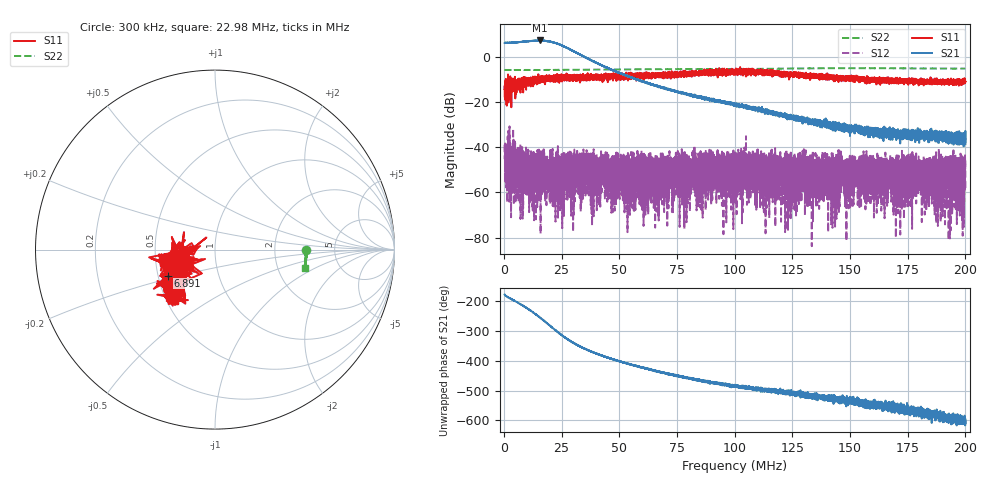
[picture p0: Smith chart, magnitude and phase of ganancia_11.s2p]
# Hz S DB R 50
! CMT, M5065, 19127446, 24.2.4/2
! Date: 11/8/2024 4:54:46 PM
! Data: Format (Calibration Info)
! Freq	S11:dB/Ang(F2)	S21:dB/Ang(F2)	S12:dB/Ang(F2)	S22:dB/Ang(F2)
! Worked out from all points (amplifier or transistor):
!   9000 points, 300 kHz to 200 MHz, reference 50 ohm
!   highest |S21| = 7.2 dB at 15.43 MHz (marker M1)
!   |S21| within 3 dB of that: start of sweep to 26.76 MHz
!   unconditionally stable (mu >= 1): start of sweep to end of sweep
!   at 33.59 MHz: K = 61.98, MAG = 2.5 dB, |S12| = -46.2 dB
!   at 100.2 MHz: K = 1011.76, MAG = -18.4 dB, |S12| = -50.3 dB
!   at 200 MHz: K = 22711.29, MAG = -36.8 dB, |S12| = -58.2 dB
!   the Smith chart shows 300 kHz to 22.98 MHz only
!   S11 on the Smith chart (normalised r, x): 300 kHz: 0.69, -0.07; 6.891 MHz: 0.56, -0.18; 22.98 MHz: 0.55, -0.37
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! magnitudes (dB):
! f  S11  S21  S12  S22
! 300 kHz  -14.4  6.1  -38.9  -5.9
! 2.186 MHz  -12.6  6.2  -58.1  -5.9
! 6.891 MHz  -10.5  6.5  -55.9  -5.9
! 15.43 MHz  -9.5  7.2  -46.7  -5.8
! 22.98 MHz  -8.8  5.8  -46.8  -5.8
! 33.59 MHz  -9.5  0.6  -46.2  -5.8
! 66.87 MHz  -8.5  -13.0  -48.0  -5.5
! 76.7 MHz  -7.3  -15.9  -43.9  -5.5
! 85.32 MHz  -7.9  -18.3  -44.7  -5.5
! 93.08 MHz  -7.1  -20.1  -49.0  -5.5
! 100.2 MHz  -6.3  -21.0  -50.3  -5.4
! 133.4 MHz  -8.6  -28.9  -53.0  -5.1
! 166.7 MHz  -10.6  -33.0  -56.7  -5.1
! 170.8 MHz  -10.8  -35.2  -49.1  -5.1
! 179.9 MHz  -11.3  -33.7  -50.0  -5.2
! 183.4 MHz  -11.0  -35.3  -46.5  -5.2
! 185.4 MHz  -11.1  -36.1  -57.9  -5.2
! 187.4 MHz  -11.0  -33.0  -58.6  -5.2
! 192.2 MHz  -11.1  -35.2  -47.3  -5.2
! 194.2 MHz  -11.4  -36.3  -51.1  -5.2
! 196.2 MHz  -10.5  -35.5  -55.8  -5.3
! 200 MHz  -11.1  -38.7  -58.2  -5.3
